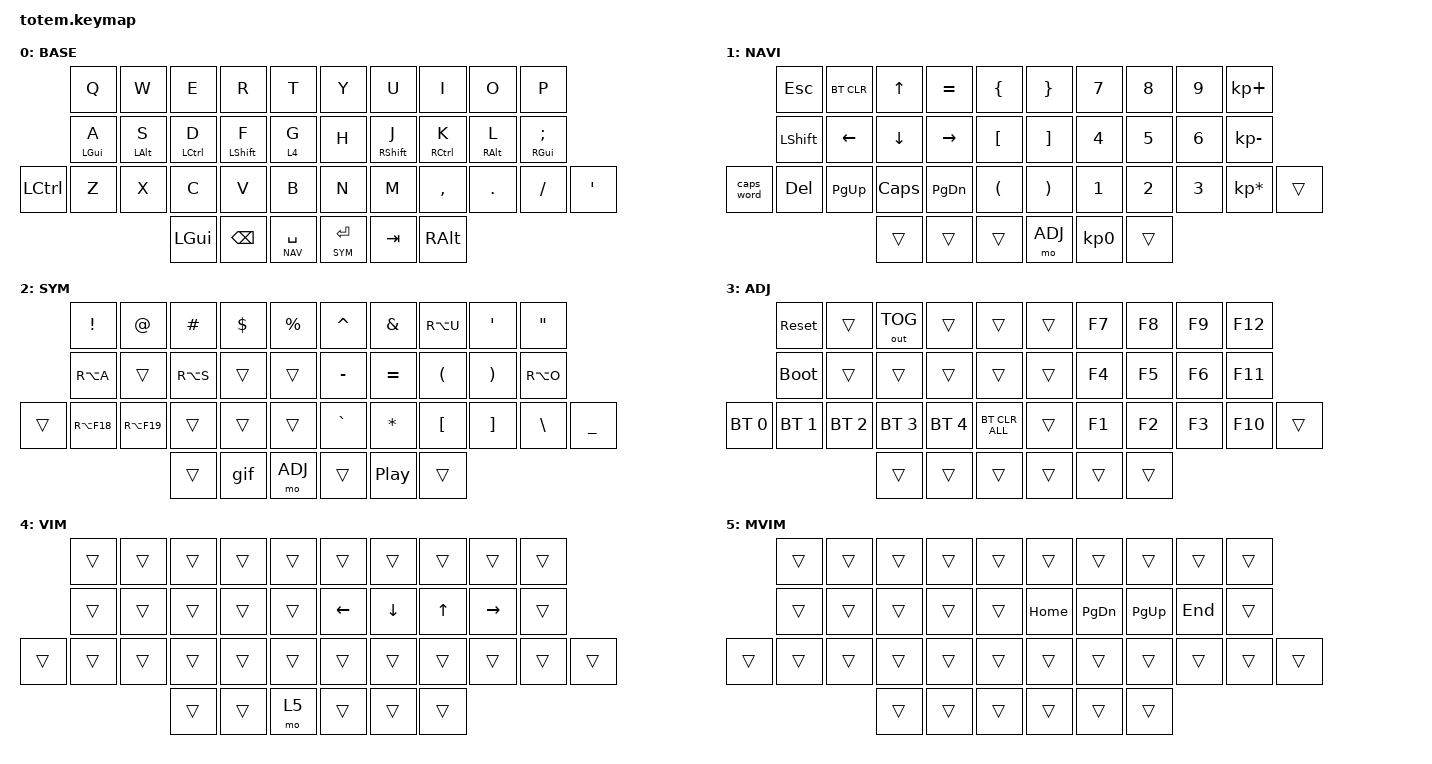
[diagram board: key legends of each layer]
//
//                                                        ▀▀▀▀▀     ▀▀▀▀▀          ▀▀█▀▀
//                                                        ▄▀▀▀▄  ▄  ▄▀▀▀▄  ▄  ▄▀▀▀▄  █  ▄▀▀▀▄
//                                                        █   █  █  █   █  █  █   █  █  █   █
//                                                         ▀▀▀   █   ▀▀▀   █   ▀▀▀   ▀   ▀▀▀
//                                                               █      ▄▄▄█▄▄▄    █   █  
//                                                               ▀      █  █  █     █▄█
//                                                             ▀▀▀▀▀    █  █  █      ▀
//                                                                      ▀  ▀  ▀
//
// ▄▄▄▄▄▄▄▄▄▄▄▄▄▄▄▄▄▄▄▄▄▄▄▄▄▄▄▄▄▄▄▄▄▄▄▄▄▄▄▄▄▄▄▄▄▄▄▄▄▄▄▄▄▄▄▄▄▄▄▄▄▄▄▄▄▄▄▄▄▄▄▄▄▄▄▄▄▄▄▄▄▄▄▄▄▄▄▄▄▄▄▄▄▄▄▄▄▄▄▄▄▄▄▄▄▄▄▄▄▄▄▄▄▄▄▄▄▄▄▄▄▄▄▄▄▄▄▄▄▄▄▄▄▄▄▄▄▄▄▄▄▄▄▄▄▄▄▄▄

#include <behaviors.dtsi>
#include <dt-bindings/zmk/bt.h>
#include <dt-bindings/zmk/keys.h>
#include <dt-bindings/zmk/outputs.h>

#define BASE 0
#define NAV  1
#define SYM  2
#define ADJ  3

&mt {
    quick-tap-ms = <100>;
    global-quick-tap;
    flavor = "tap-preferred";
    tapping-term-ms = <170>;
};

/ {
    combos {
        compatible = "zmk,combos";

        combo_esc {
            timeout-ms = <50>;
            key-positions = <0 1>;
            bindings = <&kp ESC>;
        };
    };

    macros {
        gif: gif {
            label = "giphy";
            compatible = "zmk,behavior-macro";
            #binding-cells = <0>;
            bindings =
                <&macro_press>,
                <&kp LSHFT>,
                <&macro_tap>,
                <&kp N2>,
                <&macro_release>,
                <&kp LSHFT>,
                <&macro_tap>,
                <&kp G &kp I &kp F>;
        };
    };

    keymap {
        compatible = "zmk,keymap";

        // ▄▄▄▄▄▄▄▄▄▄▄▄▄▄▄▄▄▄▄▄▄▄▄▄▄▄▄▄▄▄▄▄▄▄▄▄▄▄▄▄▄▄▄▄▄▄▄▄▄▄▄▄▄▄▄▄▄▄▄▄▄▄▄▄▄▄▄▄▄▄▄▄▄▄▄▄▄▄▄▄▄▄▄▄▄▄▄▄▄▄▄▄▄▄▄▄▄▄▄▄▄▄▄▄▄▄▄▄▄▄▄▄▄▄▄▄▄▄▄▄▄▄▄▄▄▄▄▄▄▄▄▄▄▄▄▄▄▄▄▄▄▄▄▄▄▄▄▄▄

        base_layer {
            // ┏━━━━━━━━━━━━━━━━━━━━━━━━━━━━━━━━━━━━━━━┓

            label = "BASE";

            // ┗━━━━━━━━━━━━━━━━━━━━━━━━━━━━━━━━━━━━━━━┛
            //             ┏━━━━━━━━━━━┳━━━━━━━━━━━┳━━━━━━━━━━━┳━━━━━━━━━━━┳━━━━━━━━━━━┓   ┏━━━━━━━━━━━┳━━━━━━━━━━━┳━━━━━━━━━━━┳━━━━━━━━━━━┳━━━━━━━━━━━┓
            //             ┃     Q     ┃     W     ┃     F     ┃     P     ┃     G     ┃   ┃     J     ┃     L     ┃     U     ┃     Y     ┃     ;     ┃
            //             ┣━━━━━━━━━━━╋━━━━━━━━━━━╋━━━━━━━━━━━╋━━━━━━━━━━━╋━━━━━━━━━━━┫   ┣━━━━━━━━━━━╋━━━━━━━━━━━╋━━━━━━━━━━━╋━━━━━━━━━━━╋━━━━━━━━━━━┫
            //             ┃     A     ┃     R     ┃     S     ┃     T     ┃     D     ┃   ┃     H     ┃     N     ┃     E     ┃     I     ┃     O     ┃
            // ┏━━━━━━━━━━━╋━━━━━━━━━━━╋━━━━━━━━━━━╋━━━━━━━━━━━╋━━━━━━━━━━━╋━━━━━━━━━━━┫   ┣━━━━━━━━━━━╋━━━━━━━━━━━╋━━━━━━━━━━━╋━━━━━━━━━━━╋━━━━━━━━━━━╋━━━━━━━━━━━┓
            // ┃           ┃     Z     ┃     X     ┃     C     ┃     V     ┃     B     ┃   ┃     K     ┃     M     ┃     ,     ┃     .     ┃     /     ┃           ┃
            // ┗━━━━━━━━━━━┻━━━━━━━━━━━┻━━━━━━━━━━━╋━━━━━━━━━━━╋━━━━━━━━━━━╋━━━━━━━━━━━┫   ┣━━━━━━━━━━━╋━━━━━━━━━━━╋━━━━━━━━━━━╋━━━━━━━━━━━┻━━━━━━━━━━━┻━━━━━━━━━━━┛
            //                                     ┃           ┃    TAB    ┃    SPC    ┃   ┃   ENTER   ┃   BSPC    ┃           ┃
            //                                     ┗━━━━━━━━━━━┻━━━━━━━━━━━┻━━━━━━━━━━━┛   ┗━━━━━━━━━━━┻━━━━━━━━━━━┻━━━━━━━━━━━┛

            bindings = <
                  &kp Q       &kp W       &kp E         &kp R          &kp T            &kp Y        &kp U        &kp I          &kp O       &kp P
                  &mt LGUI A  &mt LALT S  &mt LCTRL D   &mt LSHFT F    &lt 4 G          &kp H        &mt RSHFT J  &mt RCTRL K    &mt RALT L  &mt RGUI SEMI
&kp LEFT_CONTROL  &kp Z       &kp X       &kp C         &kp V          &kp B            &kp N        &kp M        &kp COMMA      &kp DOT     &kp FSLH       &kp APOS
                                          &kp LEFT_GUI  &kp BACKSPACE  &lt NAV SPACE    &lt SYM RET  &kp TAB      &kp RIGHT_ALT
            >;
        };

        // ▄▄▄▄▄▄▄▄▄▄▄▄▄▄▄▄▄▄▄▄▄▄▄▄▄▄▄▄▄▄▄▄▄▄▄▄▄▄▄▄▄▄▄▄▄▄▄▄▄▄▄▄▄▄▄▄▄▄▄▄▄▄▄▄▄▄▄▄▄▄▄▄▄▄▄▄▄▄▄▄▄▄▄▄▄▄▄▄▄▄▄▄▄▄▄▄▄▄▄▄▄▄▄▄▄▄▄▄▄▄▄▄▄▄▄▄▄▄▄▄▄▄▄▄▄▄▄▄▄▄▄▄▄▄▄▄▄▄▄▄▄▄▄▄▄▄▄▄▄

        nav_layer {
            // ┏━━━━━━━━━━━━━━━━━━━━━━━━━━━━━━━━━━━━━━━┓

            label = "NAVI";

            // ┗━━━━━━━━━━━━━━━━━━━━━━━━━━━━━━━━━━━━━━━┛
            //             ┏━━━━━━━━━━━┳━━━━━━━━━━━┳━━━━━━━━━━━┳━━━━━━━━━━━┳━━━━━━━━━━━┓   ┏━━━━━━━━━━━┳━━━━━━━━━━━┳━━━━━━━━━━━┳━━━━━━━━━━━┳━━━━━━━━━━━┓
            //             ┃           ┃           ┃     UP    ┃           ┃     {     ┃   ┃     }     ┃     7     ┃     8     ┃     9     ┃     +     ┃
            //             ┣━━━━━━━━━━━╋━━━━━━━━━━━╋━━━━━━━━━━━╋━━━━━━━━━━━╋━━━━━━━━━━━┫   ┣━━━━━━━━━━━╋━━━━━━━━━━━╋━━━━━━━━━━━╋━━━━━━━━━━━╋━━━━━━━━━━━┫
            //             ┃   SHIFT   ┃   LEFT    ┃    DOWN   ┃   RIGHT   ┃     [     ┃   ┃     ]     ┃     4     ┃     5     ┃     6     ┃     -     ┃
            // ┏━━━━━━━━━━━╋━━━━━━━━━━━╋━━━━━━━━━━━╋━━━━━━━━━━━╋━━━━━━━━━━━╋━━━━━━━━━━━┫   ┣━━━━━━━━━━━╋━━━━━━━━━━━╋━━━━━━━━━━━╋━━━━━━━━━━━╋━━━━━━━━━━━╋━━━━━━━━━━━┓
            // ┃           ┃           ┃   P UP    ┃  C LOCK   ┃  P DOWN   ┃     (     ┃   ┃     )     ┃     1     ┃     2     ┃     3     ┃     *     ┃           ┃
            // ┗━━━━━━━━━━━┻━━━━━━━━━━━┻━━━━━━━━━━━╋━━━━━━━━━━━╋━━━━━━━━━━━╋━━━━━━━━━━━┫   ┣━━━━━━━━━━━╋━━━━━━━━━━━╋━━━━━━━━━━━╋━━━━━━━━━━━┻━━━━━━━━━━━┻━━━━━━━━━━━┛
            //                                     ┃           ┃    TAB    ┃    SPC    ┃   ┃    DEL    ┃     0     ┃           ┃
            //                                     ┗━━━━━━━━━━━┻━━━━━━━━━━━┻━━━━━━━━━━━┛   ┗━━━━━━━━━━━┻━━━━━━━━━━━┻━━━━━━━━━━━┛

            bindings = <
            &kp ESC    &bt BT_CLR  &kp UP    &kp EQUAL  &kp LBRC    &kp RBRC  &kp N7           &kp N8        &kp N9        &kp KP_PLUS
            &kp LSHFT  &kp LEFT    &kp DOWN  &kp RIGHT  &kp LBKT    &kp RBKT  &kp NUMBER_4     &kp N5        &kp NUMBER_6  &kp KP_MINUS
&caps_word  &kp DEL    &kp PG_UP   &kp CAPS  &kp PG_DN  &kp LPAR    &kp RPAR  &kp NUMBER_1     &kp NUMBER_2  &kp NUMBER_3  &kp KP_MULTIPLY  &trans
                                   &trans    &trans     &trans      &mo ADJ   &kp KP_NUMBER_0  &trans
            >;
        };

        // ▄▄▄▄▄▄▄▄▄▄▄▄▄▄▄▄▄▄▄▄▄▄▄▄▄▄▄▄▄▄▄▄▄▄▄▄▄▄▄▄▄▄▄▄▄▄▄▄▄▄▄▄▄▄▄▄▄▄▄▄▄▄▄▄▄▄▄▄▄▄▄▄▄▄▄▄▄▄▄▄▄▄▄▄▄▄▄▄▄▄▄▄▄▄▄▄▄▄▄▄▄▄▄▄▄▄▄▄▄▄▄▄▄▄▄▄▄▄▄▄▄▄▄▄▄▄▄▄▄▄▄▄▄▄▄▄▄▄▄▄▄▄▄▄▄▄▄▄▄

        sim_layer {
            // ┏━━━━━━━━━━━━━━━━━━━━━━━━━━━━━━━━━━━━━━━┓

            label = "SYM";

            // ┗━━━━━━━━━━━━━━━━━━━━━━━━━━━━━━━━━━━━━━━┛
            //             ┏━━━━━━━━━━━┳━━━━━━━━━━━┳━━━━━━━━━━━┳━━━━━━━━━━━┳━━━━━━━━━━━┓   ┏━━━━━━━━━━━┳━━━━━━━━━━━┳━━━━━━━━━━━┳━━━━━━━━━━━┳━━━━━━━━━━━┓
            //             ┃     !     ┃     @     ┃     #     ┃     $     ┃     %     ┃   ┃     ˆ     ┃     &     ┃     Ü     ┃     '     ┃     "     ┃
            //             ┣━━━━━━━━━━━╋━━━━━━━━━━━╋━━━━━━━━━━━╋━━━━━━━━━━━╋━━━━━━━━━━━┫   ┣━━━━━━━━━━━╋━━━━━━━━━━━╋━━━━━━━━━━━╋━━━━━━━━━━━╋━━━━━━━━━━━┫
            //             ┃     Ä     ┃           ┃    SZ     ┃           ┃           ┃   ┃   MUTE    ┃   YEN     ┃   EURO    ┃  POUND    ┃     Ö     ┃
            // ┏━━━━━━━━━━━╋━━━━━━━━━━━╋━━━━━━━━━━━╋━━━━━━━━━━━╋━━━━━━━━━━━╋━━━━━━━━━━━┫   ┣━━━━━━━━━━━╋━━━━━━━━━━━╋━━━━━━━━━━━╋━━━━━━━━━━━╋━━━━━━━━━━━╋━━━━━━━━━━━┓
            // ┃           ┃  EMAIL1   ┃  EMAIL2   ┃           ┃           ┃           ┃   ┃   VOL-    ┃   VOL+    ┃   LAST    ┃   NEXT    ┃     \     ┃           ┃
            // ┗━━━━━━━━━━━┻━━━━━━━━━━━┻━━━━━━━━━━━╋━━━━━━━━━━━╋━━━━━━━━━━━╋━━━━━━━━━━━┫   ┣━━━━━━━━━━━╋━━━━━━━━━━━╋━━━━━━━━━━━╋━━━━━━━━━━━┻━━━━━━━━━━━┻━━━━━━━━━━━┛
            //                                     ┃           ┃    GIF    ┃    ADJ    ┃   ┃           ┃           ┃           ┃
            //                                     ┗━━━━━━━━━━━┻━━━━━━━━━━━┻━━━━━━━━━━━┛   ┗━━━━━━━━━━━┻━━━━━━━━━━━┻━━━━━━━━━━━┛

            bindings = <
        &kp EXCL     &kp AT       &kp HASH   &kp DLLR  &kp PRCNT    &kp CARET  &kp AMPS      &kp RA(U)             &kp SQT                &kp DQT
        &kp RA(A)    &trans       &kp RA(S)  &trans    &trans       &kp MINUS  &kp EQUAL     &kp LEFT_PARENTHESIS  &kp RIGHT_PARENTHESIS  &kp RA(O)
&trans  &kp RA(F18)  &kp RA(F19)  &trans     &trans    &trans       &kp GRAVE  &kp ASTERISK  &kp LEFT_BRACKET      &kp RIGHT_BRACKET      &kp BSLH   &kp UNDER
                                  &trans     &gif      &mo ADJ      &trans     &kp C_PP      &trans
            >;
        };

        // ▄▄▄▄▄▄▄▄▄▄▄▄▄▄▄▄▄▄▄▄▄▄▄▄▄▄▄▄▄▄▄▄▄▄▄▄▄▄▄▄▄▄▄▄▄▄▄▄▄▄▄▄▄▄▄▄▄▄▄▄▄▄▄▄▄▄▄▄▄▄▄▄▄▄▄▄▄▄▄▄▄▄▄▄▄▄▄▄▄▄▄▄▄▄▄▄▄▄▄▄▄▄▄▄▄▄▄▄▄▄▄▄▄▄▄▄▄▄▄▄▄▄▄▄▄▄▄▄▄▄▄▄▄▄▄▄▄▄▄▄▄▄▄▄▄▄▄▄▄

        adjust_layer {
            // ┏━━━━━━━━━━━━━━━━━━━━━━━━━━━━━━━━━━━━━━━┓

            label = "ADJ";

            // ┗━━━━━━━━━━━━━━━━━━━━━━━━━━━━━━━━━━━━━━━┛
            //             ┏━━━━━━━━━━━┳━━━━━━━━━━━┳━━━━━━━━━━━┳━━━━━━━━━━━┳━━━━━━━━━━━┓   ┏━━━━━━━━━━━┳━━━━━━━━━━━┳━━━━━━━━━━━┳━━━━━━━━━━━┳━━━━━━━━━━━┓
            //             ┃   RESET   ┃ BT CLEAR  ┃  OUT TOG  ┃           ┃           ┃   ┃           ┃    F7     ┃    F8     ┃    F9     ┃    F12    ┃
            //             ┣━━━━━━━━━━━╋━━━━━━━━━━━╋━━━━━━━━━━━╋━━━━━━━━━━━╋━━━━━━━━━━━┫   ┣━━━━━━━━━━━╋━━━━━━━━━━━╋━━━━━━━━━━━╋━━━━━━━━━━━╋━━━━━━━━━━━┫
            //             ┃ BOOTLOAD  ┃ BT NEXT   ┃           ┃           ┃           ┃   ┃           ┃    F4     ┃    F5     ┃    F6     ┃    F11    ┃
            // ┏━━━━━━━━━━━╋━━━━━━━━━━━╋━━━━━━━━━━━╋━━━━━━━━━━━╋━━━━━━━━━━━╋━━━━━━━━━━━┫   ┣━━━━━━━━━━━╋━━━━━━━━━━━╋━━━━━━━━━━━╋━━━━━━━━━━━╋━━━━━━━━━━━╋━━━━━━━━━━━┓
            // ┃           ┃           ┃ BT PREV   ┃           ┃           ┃           ┃   ┃           ┃    F1     ┃    F2     ┃    F3     ┃    F10    ┃           ┃
            // ┗━━━━━━━━━━━┻━━━━━━━━━━━┻━━━━━━━━━━━╋━━━━━━━━━━━╋━━━━━━━━━━━╋━━━━━━━━━━━┫   ┣━━━━━━━━━━━╋━━━━━━━━━━━╋━━━━━━━━━━━╋━━━━━━━━━━━┻━━━━━━━━━━━┻━━━━━━━━━━━┛
            //                                     ┃           ┃           ┃           ┃   ┃           ┃           ┃           ┃
            //                                     ┗━━━━━━━━━━━┻━━━━━━━━━━━┻━━━━━━━━━━━┛   ┗━━━━━━━━━━━┻━━━━━━━━━━━┻━━━━━━━━━━━┛

            bindings = <
              &sys_reset    &trans        &out OUT_TOG  &trans        &trans            &trans  &kp F7  &kp F8  &kp F9  &kp F12
              &bootloader   &trans        &trans        &trans        &trans            &trans  &kp F4  &kp F5  &kp F6  &kp F11
&bt BT_SEL 0  &bt BT_SEL 1  &bt BT_SEL 2  &bt BT_SEL 3  &bt BT_SEL 4  &bt BT_CLR_ALL    &trans  &kp F1  &kp F2  &kp F3  &kp F10  &trans
                                          &trans        &trans        &trans            &trans  &trans  &trans
            >;
        };

        VIM {
            bindings = <
        &trans  &trans  &trans  &trans  &trans    &trans    &trans    &trans  &trans     &trans
        &trans  &trans  &trans  &trans  &trans    &kp LEFT  &kp DOWN  &kp UP  &kp RIGHT  &trans
&trans  &trans  &trans  &trans  &trans  &trans    &trans    &trans    &trans  &trans     &trans  &trans
                        &trans  &trans  &mo 5     &trans    &trans    &trans
            >;
        };

        MVIM {
            bindings = <
        &trans  &trans  &trans  &trans  &trans    &trans    &trans         &trans       &trans   &trans
        &trans  &trans  &trans  &trans  &trans    &kp HOME  &kp PAGE_DOWN  &kp PAGE_UP  &kp END  &trans
&trans  &trans  &trans  &trans  &trans  &trans    &trans    &trans         &trans       &trans   &trans  &trans
                        &trans  &trans  &trans    &trans    &trans         &trans
            >;
        };
    };
};
